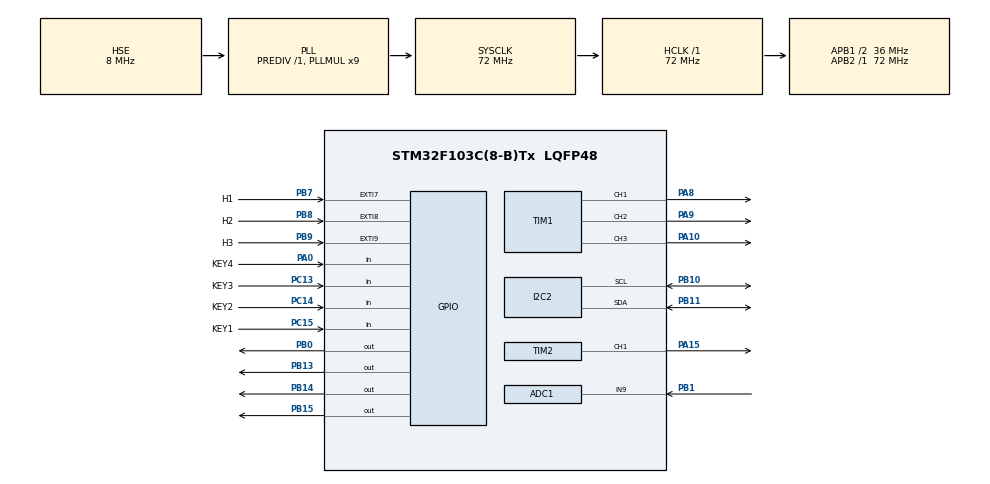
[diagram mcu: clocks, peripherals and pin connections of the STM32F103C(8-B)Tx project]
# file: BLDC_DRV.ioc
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ADC1.Channel-0\#ChannelRegularConversion=ADC_CHANNEL_9
ADC1.ContinuousConvMode=ENABLE
ADC1.NbrOfConversion=1
ADC1.NbrOfConversionFlag=1
ADC1.Rank-0\#ChannelRegularConversion=1
ADC1.SamplingTime-0\#ChannelRegularConversion=ADC_SAMPLETIME_28CYCLES_5
ADC1.master=1
I2C2.I2C_Mode=I2C_Fast
Mcu.Family=STM32F1
Mcu.Name=STM32F103C(8-B)Tx
Mcu.Package=LQFP48
NVIC.EXTI9_5_IRQn=true\:0\:0\:false\:false\:true\:true\:true\:true
NVIC.PriorityGroup=NVIC_PRIORITYGROUP_4
NVIC.TIM1_UP_IRQn=true\:1\:0\:true\:false\:true\:true\:true\:true
NVIC.TIM3_IRQn=true\:2\:0\:true\:false\:true\:true\:true\:true
PA0-WKUP.GPIO_Label=KEY4
PA0-WKUP.Signal=GPIO_Input
PA10.Signal=S_TIM1_CH3
PA13.Mode=Serial_Wire
PA13.Signal=SYS_JTMS-SWDIO
PA14.Mode=Serial_Wire
PA14.Signal=SYS_JTCK-SWCLK
PA15.Signal=S_TIM2_CH1_ETR
PA7.Signal=ADCx_IN7
PA8.Signal=S_TIM1_CH1
PA9.Signal=S_TIM1_CH2
PB0.Signal=GPIO_Output
PB1.Signal=ADCx_IN9
PB10.Mode=I2C
PB10.Signal=I2C2_SCL
PB11.Mode=I2C
PB11.Signal=I2C2_SDA
PB13.GPIO_Speed=GPIO_SPEED_FREQ_HIGH
PB13.Signal=GPIO_Output
PB14.GPIO_Speed=GPIO_SPEED_FREQ_HIGH
PB14.Signal=GPIO_Output
PB15.GPIO_Speed=GPIO_SPEED_FREQ_HIGH
PB15.Signal=GPIO_Output
PB7.GPIO_Label=H1
PB7.GPIO_ModeDefaultEXTI=GPIO_MODE_IT_RISING_FALLING
PB7.GPIO_PuPd=GPIO_PULLUP
PB7.Signal=GPXTI7
PB8.GPIO_Label=H2
PB8.GPIO_ModeDefaultEXTI=GPIO_MODE_IT_RISING_FALLING
PB8.GPIO_PuPd=GPIO_PULLUP
PB8.Signal=GPXTI8
PB9.GPIO_Label=H3
PB9.GPIO_ModeDefaultEXTI=GPIO_MODE_IT_RISING_FALLING
PB9.GPIO_PuPd=GPIO_PULLUP
PB9.Signal=GPXTI9
PC13-TAMPER-RTC.GPIO_Label=KEY3
PC13-TAMPER-RTC.Signal=GPIO_Input
PC14-OSC32_IN.GPIO_Label=KEY2
PC14-OSC32_IN.Signal=GPIO_Input
PC15-OSC32_OUT.GPIO_Label=KEY1
PC15-OSC32_OUT.Signal=GPIO_Input
PD0-OSC_IN.Mode=HSE-External-Oscillator
PD0-OSC_IN.Signal=RCC_OSC_IN
PD1-OSC_OUT.Mode=HSE-External-Oscillator
PD1-OSC_OUT.Signal=RCC_OSC_OUT
ProjectManager.HeapSize=0x200
ProjectManager.StackSize=0x400
ProjectManager.TargetToolchain=STM32CubeIDE
RCC.ADCPresc=RCC_ADCPCLK2_DIV6
RCC.AHBFreq_Value=72000000
RCC.APB1CLKDivider=RCC_HCLK_DIV2
RCC.APB1Freq_Value=36000000
RCC.APB1TimFreq_Value=72000000
RCC.APB2Freq_Value=72000000
RCC.APB2TimFreq_Value=72000000
RCC.HCLKFreq_Value=72000000
RCC.PLLMUL=RCC_PLL_MUL9
RCC.PLLSourceVirtual=RCC_PLLSOURCE_HSE
RCC.SYSCLKFreq_VALUE=72000000
RCC.SYSCLKSource=RCC_SYSCLKSOURCE_PLLCLK
RCC.USBFreq_Value=72000000
SH.ADCx_IN7.0=ADC1_IN7
SH.ADCx_IN9.0=ADC1_IN9,IN9
SH.S_TIM1_CH1.0=TIM1_CH1,PWM Generation1 CH1
SH.S_TIM1_CH2.0=TIM1_CH2,PWM Generation2 CH2
SH.S_TIM1_CH3.0=TIM1_CH3,PWM Generation3 CH3
SH.S_TIM2_CH1_ETR.0=TIM2_CH1,PWM Generation1 CH1
TIM1.Channel-PWM\ Generation1\ CH1=TIM_CHANNEL_1
TIM1.Channel-PWM\ Generation2\ CH2=TIM_CHANNEL_2
TIM1.Channel-PWM\ Generation3\ CH3=TIM_CHANNEL_3
TIM1.OCFastMode_PWM-PWM\ Generation1\ CH1=TIM_OCFAST_ENABLE
TIM1.OCFastMode_PWM-PWM\ Generation2\ CH2=TIM_OCFAST_ENABLE
TIM1.OCFastMode_PWM-PWM\ Generation3\ CH3=TIM_OCFAST_ENABLE
TIM2.AutoReloadPreload=TIM_AUTORELOAD_PRELOAD_ENABLE
TIM2.Channel-PWM\ Generation1\ CH1=TIM_CHANNEL_1
TIM2.Period=99
TIM2.Prescaler=179
TIM4.AutoReloadPreload=TIM_AUTORELOAD_PRELOAD_ENABLE
TIM4.Period=10000
TIM4.Prescaler=7200
VP_TIM2_VS_ClockSourceINT.Mode=Internal
VP_TIM3_VS_ClockSourceINT.Mode=Internal
VP_TIM4_VS_ClockSourceINT.Mode=Internal
board=custom

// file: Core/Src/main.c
/* USER CODE BEGIN Header */
/**
 ******************************************************************************
 * @file           : main.c
 * @brief          : Main program body
 ******************************************************************************
 * @attention
 *
 * <h2><center>&copy; Copyright (c) 2021 STMicroelectronics.
 * All rights reserved.</center></h2>
 *
 * This software component is licensed by ST under BSD 3-Clause license,
 * the "License"; You may not use this file except in compliance with the
 * License. You may obtain a copy of the License at:
 *                        opensource.org/licenses/BSD-3-Clause
 *
 ******************************************************************************
 */
/* USER CODE END Header */
#include "main.h"

/* USER CODE BEGIN Includes */
#include "u8g2/u8g2.h"
#include "stdbool.h"
#include "BLDC.h"

/* USER CODE END Includes */

/* USER CODE BEGIN PD */
// PWM Frequency = 72000000/BLDC_CHOPPER_PERIOD
#define BLDC_CHOPPER_PERIOD 4500

#define SPEED_TIMER_PRESCALER 72
#define SPEED_TIMER_PERIOD 0xFFFF // 65535

#define HALL_SENSOR_ANGLE_DEG 120							   // [deg]
#define HALL_SENSOR_ANGLE (HALL_SENSOR_ANGLE_DEG * M_PI / 180) // [rad]
#define POLES 8

/* USER CODE END PD */

 ADC_HandleTypeDef hadc1;

I2C_HandleTypeDef hi2c2;

TIM_HandleTypeDef htim1;
TIM_HandleTypeDef htim2;
TIM_HandleTypeDef htim3;
TIM_HandleTypeDef htim4;

/* USER CODE BEGIN PV */
uint8_t string_width;
char buffer[20];

bool Hread1 = 0;
bool Hread2 = 0;
bool Hread3 = 0;

uint8_t hallpos;
uint16_t adc_raw;

uint16_t pwm;

unsigned char phase;
unsigned char run;

unsigned short commcounter;
unsigned short step;
unsigned short runningdc;
unsigned short potvalue;

volatile uint16_t speed_raw = 0; // counter ticks
volatile uint16_t to_rpm;
volatile float speed_koef = POLES * HALL_SENSOR_ANGLE;

/* USER CODE END PV */

void SystemClock_Config(void);
static void MX_GPIO_Init(void);
static void MX_TIM1_Init(void);
static void MX_I2C2_Init(void);
static void MX_TIM3_Init(void);
static void MX_TIM4_Init(void);
static void MX_TIM2_Init(void);
static void MX_ADC1_Init(void);
/* USER CODE BEGIN PFP */

void Buzzer_Beep(uint16_t tone);
void Buzzer_Beep_Beep(uint16_t tone);
void HallSensorsGetPosition(void);

/* USER CODE END PFP */

/* USER CODE BEGIN 0 */

/* OLED Functions */
extern uint8_t u8x8_stm32_gpio_and_delay(u8x8_t *u8x8, uint8_t msg,
		uint8_t arg_int, void *arg_ptr);
extern uint8_t u8x8_byte_stm32_hw_spi(u8x8_t *u8x8, uint8_t msg,
		uint8_t arg_int, void *arg_ptr);
extern uint8_t u8x8_byte_stm32_hw_i2c(u8x8_t *u8x8, uint8_t msg,
		uint8_t arg_int, void *arg_ptr);
static u8g2_t u8g2;

/* HALL interrupt */
void HAL_GPIO_EXTI_Callback(uint16_t GPIO_Pin) {

	if ((GPIO_Pin == H1_Pin || GPIO_Pin == H2_Pin || GPIO_Pin == H3_Pin)
			!= RESET) {
		__HAL_GPIO_EXTI_CLEAR_IT(H1_Pin);
		__HAL_GPIO_EXTI_CLEAR_IT(H2_Pin);
		__HAL_GPIO_EXTI_CLEAR_IT(H3_Pin);

		// calc speed
		speed_raw = __HAL_TIM_GET_COUNTER(&htim3);
		HAL_TIM_Base_Start_IT(&htim3);
		__HAL_TIM_SET_COUNTER(&htim3,0);

		// Commutation
		HallSensorsGetPosition();
		commutate();
	}
}
/* USER CODE END 0 */

int main(void)
{

  /* MCU Configuration--------------------------------------------------------*/

  /* Reset of all peripherals, Initializes the Flash interface and the Systick. */
  HAL_Init();

  /* Configure the system clock */
  SystemClock_Config();

  /* Initialize all configured peripherals */
  MX_GPIO_Init();
  MX_TIM1_Init();
  MX_I2C2_Init();
  MX_TIM3_Init();
  MX_TIM4_Init();
  MX_TIM2_Init();
  MX_ADC1_Init();
  /* USER CODE BEGIN 2 */

  	/* TIM init */
  	HAL_TIM_Base_Start_IT(&htim1);

	/* ADC init */
  	HAL_ADC_Start(&hadc1);

	/* Starting point */
	HallSensorsGetPosition();

	/* Buzzer off */
	Buzzer_Beep_Beep(49);

	/* Motor start init */
	motorstartinit();
	phase = 0;

	/* OLED init */
	u8g2_Setup_ssd1306_i2c_128x64_noname_f(&u8g2, U8G2_R0,u8x8_byte_stm32_hw_i2c, u8x8_stm32_gpio_and_delay);
	/* Initialize Display */
	u8g2_InitDisplay(&u8g2);
	u8g2_SetPowerSave(&u8g2, 0);

  /* USER CODE END 2 */

  /* Infinite loop */
	while (1) {

    /* USER CODE BEGIN 3 */
		//* ADC Things *//

		//* Pot Value Limits *//
//		if (adc_raw > 200)
//			HAL_TIM_Base_Start(&htim1);
//		if (adc_raw < 100)
//			HAL_TIM_Base_Stop(&htim1);

		//* OLED Display Things *//
		u8g2_FirstPage(&u8g2);
		do {
			u8g2_ClearBuffer(&u8g2);

			u8g2_SetDrawColor(&u8g2, 1);
			u8g2_SetBitmapMode(&u8g2, 1);

			if ((hallpos & 0x01))
				u8g2_DrawBox(&u8g2, 30, 15, 15, 15);
			if ((hallpos >> 1) & 0x01)
				u8g2_DrawBox(&u8g2, 60, 15, 15, 15);
			if ((hallpos >> 2) & 0x01)
				u8g2_DrawBox(&u8g2, 90, 15, 15, 15);

			u8g2_SetFont(&u8g2, u8g2_font_ncenB08_tr);
			u8g2_DrawStr(&u8g2, 30, 50, "H1");
			u8g2_DrawStr(&u8g2, 60, 50, "H2");
			u8g2_DrawStr(&u8g2, 90, 50, "H3");

		} while (u8g2_NextPage(&u8g2));

		//* LED Toggle *//
		GPIOB->BSRR |= (1 << 0);		 // Set the Pin PB0
		HAL_Delay(200);
		GPIOB->BSRR |= (1 << 0) << 16;  // Clear the Pin PB0
		HAL_Delay(200);

		//* Buzzer Off *//
		if(HAL_GPIO_ReadPin(KEY1_GPIO_Port, KEY1_Pin)){
			BUZZER_START; // buton for buzzer
		}
		else {
			BUZZER_STOP;
		}

//		Hall data binary  to  single;
/*	    Hread1 = (hallpos & 0x01);
//	    Hread2 = ((hallpos >> 1) & 0x01);
//	    Hread3 = ((hallpos >> 2) & 0x01);
*/
	}
  /* USER CODE END 3 */
}

void SystemClock_Config(void)
{
  RCC_OscInitTypeDef RCC_OscInitStruct = {0};
  RCC_ClkInitTypeDef RCC_ClkInitStruct = {0};
  RCC_PeriphCLKInitTypeDef PeriphClkInit = {0};

  /** Initializes the RCC Oscillators according to the specified parameters
  * in the RCC_OscInitTypeDef structure.
  */
  RCC_OscInitStruct.OscillatorType = RCC_OSCILLATORTYPE_HSE;
  RCC_OscInitStruct.HSEState = RCC_HSE_ON;
  RCC_OscInitStruct.HSEPredivValue = RCC_HSE_PREDIV_DIV1;
  RCC_OscInitStruct.HSIState = RCC_HSI_ON;
  RCC_OscInitStruct.PLL.PLLState = RCC_PLL_ON;
  RCC_OscInitStruct.PLL.PLLSource = RCC_PLLSOURCE_HSE;
  RCC_OscInitStruct.PLL.PLLMUL = RCC_PLL_MUL9;
  if (HAL_RCC_OscConfig(&RCC_OscInitStruct) != HAL_OK)
  {
    Error_Handler();
  }

  /** Initializes the CPU, AHB and APB buses clocks
  */
  RCC_ClkInitStruct.ClockType = RCC_CLOCKTYPE_HCLK|RCC_CLOCKTYPE_SYSCLK
                              |RCC_CLOCKTYPE_PCLK1|RCC_CLOCKTYPE_PCLK2;
  RCC_ClkInitStruct.SYSCLKSource = RCC_SYSCLKSOURCE_PLLCLK;
  RCC_ClkInitStruct.AHBCLKDivider = RCC_SYSCLK_DIV1;
  RCC_ClkInitStruct.APB1CLKDivider = RCC_HCLK_DIV2;
  RCC_ClkInitStruct.APB2CLKDivider = RCC_HCLK_DIV1;

  if (HAL_RCC_ClockConfig(&RCC_ClkInitStruct, FLASH_LATENCY_2) != HAL_OK)
  {
    Error_Handler();
  }
  PeriphClkInit.PeriphClockSelection = RCC_PERIPHCLK_ADC;
  PeriphClkInit.AdcClockSelection = RCC_ADCPCLK2_DIV6;
  if (HAL_RCCEx_PeriphCLKConfig(&PeriphClkInit) != HAL_OK)
  {
    Error_Handler();
  }
}

static void MX_ADC1_Init(void)
{

  ADC_ChannelConfTypeDef sConfig = {0};

  /** Common config
  */
  hadc1.Instance = ADC1;
  hadc1.Init.ScanConvMode = ADC_SCAN_DISABLE;
  hadc1.Init.ContinuousConvMode = ENABLE;
  hadc1.Init.DiscontinuousConvMode = DISABLE;
  hadc1.Init.ExternalTrigConv = ADC_SOFTWARE_START;
  hadc1.Init.DataAlign = ADC_DATAALIGN_RIGHT;
  hadc1.Init.NbrOfConversion = 1;
  if (HAL_ADC_Init(&hadc1) != HAL_OK)
  {
    Error_Handler();
  }

  /** Configure Regular Channel
  */
  sConfig.Channel = ADC_CHANNEL_9;
  sConfig.Rank = ADC_REGULAR_RANK_1;
  sConfig.SamplingTime = ADC_SAMPLETIME_28CYCLES_5;
  if (HAL_ADC_ConfigChannel(&hadc1, &sConfig) != HAL_OK)
  {
    Error_Handler();
  }

}

static void MX_I2C2_Init(void)
{

  hi2c2.Instance = I2C2;
  hi2c2.Init.ClockSpeed = 400000;
  hi2c2.Init.DutyCycle = I2C_DUTYCYCLE_2;
  hi2c2.Init.OwnAddress1 = 0;
  hi2c2.Init.AddressingMode = I2C_ADDRESSINGMODE_7BIT;
  hi2c2.Init.DualAddressMode = I2C_DUALADDRESS_DISABLE;
  hi2c2.Init.OwnAddress2 = 0;
  hi2c2.Init.GeneralCallMode = I2C_GENERALCALL_DISABLE;
  hi2c2.Init.NoStretchMode = I2C_NOSTRETCH_DISABLE;
  if (HAL_I2C_Init(&hi2c2) != HAL_OK)
  {
    Error_Handler();
  }

}

static void MX_TIM1_Init(void)
{

  TIM_MasterConfigTypeDef sMasterConfig = {0};
  TIM_OC_InitTypeDef sConfigOC = {0};
  TIM_BreakDeadTimeConfigTypeDef sBreakDeadTimeConfig = {0};

  htim1.Instance = TIM1;
  htim1.Init.Prescaler = 0;
  htim1.Init.CounterMode = TIM_COUNTERMODE_UP;
  htim1.Init.Period = 65535;
  htim1.Init.ClockDivision = TIM_CLOCKDIVISION_DIV1;
  htim1.Init.RepetitionCounter = 0;
  htim1.Init.AutoReloadPreload = TIM_AUTORELOAD_PRELOAD_DISABLE;
  if (HAL_TIM_PWM_Init(&htim1) != HAL_OK)
  {
    Error_Handler();
  }
  sMasterConfig.MasterOutputTrigger = TIM_TRGO_RESET;
  sMasterConfig.MasterSlaveMode = TIM_MASTERSLAVEMODE_DISABLE;
  if (HAL_TIMEx_MasterConfigSynchronization(&htim1, &sMasterConfig) != HAL_OK)
  {
    Error_Handler();
  }
  sConfigOC.OCMode = TIM_OCMODE_PWM1;
  sConfigOC.Pulse = 0;
  sConfigOC.OCPolarity = TIM_OCPOLARITY_HIGH;
  sConfigOC.OCNPolarity = TIM_OCNPOLARITY_HIGH;
  sConfigOC.OCFastMode = TIM_OCFAST_ENABLE;
  sConfigOC.OCIdleState = TIM_OCIDLESTATE_RESET;
  sConfigOC.OCNIdleState = TIM_OCNIDLESTATE_RESET;
  if (HAL_TIM_PWM_ConfigChannel(&htim1, &sConfigOC, TIM_CHANNEL_1) != HAL_OK)
  {
    Error_Handler();
  }
  if (HAL_TIM_PWM_ConfigChannel(&htim1, &sConfigOC, TIM_CHANNEL_2) != HAL_OK)
  {
    Error_Handler();
  }
  if (HAL_TIM_PWM_ConfigChannel(&htim1, &sConfigOC, TIM_CHANNEL_3) != HAL_OK)
  {
    Error_Handler();
  }
  sBreakDeadTimeConfig.OffStateRunMode = TIM_OSSR_DISABLE;
  sBreakDeadTimeConfig.OffStateIDLEMode = TIM_OSSI_DISABLE;
  sBreakDeadTimeConfig.LockLevel = TIM_LOCKLEVEL_OFF;
  sBreakDeadTimeConfig.DeadTime = 0;
  sBreakDeadTimeConfig.BreakState = TIM_BREAK_DISABLE;
  sBreakDeadTimeConfig.BreakPolarity = TIM_BREAKPOLARITY_HIGH;
  sBreakDeadTimeConfig.AutomaticOutput = TIM_AUTOMATICOUTPUT_DISABLE;
  if (HAL_TIMEx_ConfigBreakDeadTime(&htim1, &sBreakDeadTimeConfig) != HAL_OK)
  {
    Error_Handler();
  }
  /* USER CODE BEGIN TIM1_Init 2 */
 // htim1.Instance->CR2 =0;
  htim1.Instance->CCR1 = 350;
  htim1.Instance->CCR2 = 350;
  htim1.Instance->CCR3 = 350;
  htim1.Instance->ARR = BLDC_CHOPPER_PERIOD;
  //htim1.Instance->CR1 = 0x0001;

  /* USER CODE END TIM1_Init 2 */
  HAL_TIM_MspPostInit(&htim1);

}

static void MX_TIM2_Init(void)
{

  TIM_ClockConfigTypeDef sClockSourceConfig = {0};
  TIM_MasterConfigTypeDef sMasterConfig = {0};
  TIM_OC_InitTypeDef sConfigOC = {0};

  htim2.Instance = TIM2;
  htim2.Init.Prescaler = 179;
  htim2.Init.CounterMode = TIM_COUNTERMODE_UP;
  htim2.Init.Period = 99;
  htim2.Init.ClockDivision = TIM_CLOCKDIVISION_DIV1;
  htim2.Init.AutoReloadPreload = TIM_AUTORELOAD_PRELOAD_ENABLE;
  if (HAL_TIM_Base_Init(&htim2) != HAL_OK)
  {
    Error_Handler();
  }
  sClockSourceConfig.ClockSource = TIM_CLOCKSOURCE_INTERNAL;
  if (HAL_TIM_ConfigClockSource(&htim2, &sClockSourceConfig) != HAL_OK)
  {
    Error_Handler();
  }
  if (HAL_TIM_PWM_Init(&htim2) != HAL_OK)
  {
    Error_Handler();
  }
  sMasterConfig.MasterOutputTrigger = TIM_TRGO_RESET;
  sMasterConfig.MasterSlaveMode = TIM_MASTERSLAVEMODE_DISABLE;
  if (HAL_TIMEx_MasterConfigSynchronization(&htim2, &sMasterConfig) != HAL_OK)
  {
    Error_Handler();
  }
  sConfigOC.OCMode = TIM_OCMODE_PWM1;
  sConfigOC.Pulse = 0;
  sConfigOC.OCPolarity = TIM_OCPOLARITY_HIGH;
  sConfigOC.OCFastMode = TIM_OCFAST_DISABLE;
  if (HAL_TIM_PWM_ConfigChannel(&htim2, &sConfigOC, TIM_CHANNEL_1) != HAL_OK)
  {
    Error_Handler();
  }
  HAL_TIM_MspPostInit(&htim2);

}

static void MX_TIM3_Init(void)
{

  TIM_ClockConfigTypeDef sClockSourceConfig = {0};
  TIM_MasterConfigTypeDef sMasterConfig = {0};

  htim3.Instance = TIM3;
  htim3.Init.Prescaler = 0;
  htim3.Init.CounterMode = TIM_COUNTERMODE_UP;
  htim3.Init.Period = 65535;
  htim3.Init.ClockDivision = TIM_CLOCKDIVISION_DIV1;
  htim3.Init.AutoReloadPreload = TIM_AUTORELOAD_PRELOAD_DISABLE;
  if (HAL_TIM_Base_Init(&htim3) != HAL_OK)
  {
    Error_Handler();
  }
  sClockSourceConfig.ClockSource = TIM_CLOCKSOURCE_INTERNAL;
  if (HAL_TIM_ConfigClockSource(&htim3, &sClockSourceConfig) != HAL_OK)
  {
    Error_Handler();
  }
  sMasterConfig.MasterOutputTrigger = TIM_TRGO_RESET;
  sMasterConfig.MasterSlaveMode = TIM_MASTERSLAVEMODE_DISABLE;
  if (HAL_TIMEx_MasterConfigSynchronization(&htim3, &sMasterConfig) != HAL_OK)
  {
    Error_Handler();
  }
  /* USER CODE BEGIN TIM3_Init 2 */

  // değişken atanaıp ilk değeri alması
  htim3.Init.Prescaler = SPEED_TIMER_PRESCALER;
  htim3.Init.Period = SPEED_TIMER_PERIOD;

  /* USER CODE END TIM3_Init 2 */

}

static void MX_TIM4_Init(void)
{

  TIM_ClockConfigTypeDef sClockSourceConfig = {0};
  TIM_MasterConfigTypeDef sMasterConfig = {0};

  htim4.Instance = TIM4;
  htim4.Init.Prescaler = 7200;
  htim4.Init.CounterMode = TIM_COUNTERMODE_UP;
  htim4.Init.Period = 10000;
  htim4.Init.ClockDivision = TIM_CLOCKDIVISION_DIV1;
  htim4.Init.AutoReloadPreload = TIM_AUTORELOAD_PRELOAD_ENABLE;
  if (HAL_TIM_Base_Init(&htim4) != HAL_OK)
  {
    Error_Handler();
  }
  sClockSourceConfig.ClockSource = TIM_CLOCKSOURCE_INTERNAL;
  if (HAL_TIM_ConfigClockSource(&htim4, &sClockSourceConfig) != HAL_OK)
  {
    Error_Handler();
  }
  sMasterConfig.MasterOutputTrigger = TIM_TRGO_RESET;
  sMasterConfig.MasterSlaveMode = TIM_MASTERSLAVEMODE_DISABLE;
  if (HAL_TIMEx_MasterConfigSynchronization(&htim4, &sMasterConfig) != HAL_OK)
  {
    Error_Handler();
  }

}

static void MX_GPIO_Init(void)
{
  GPIO_InitTypeDef GPIO_InitStruct = {0};

  /* GPIO Ports Clock Enable */
  __HAL_RCC_GPIOC_CLK_ENABLE();
  __HAL_RCC_GPIOD_CLK_ENABLE();
  __HAL_RCC_GPIOA_CLK_ENABLE();
  __HAL_RCC_GPIOB_CLK_ENABLE();

  /*Configure GPIO pin Output Level */
  HAL_GPIO_WritePin(GPIOB, GPIO_PIN_0|GPIO_PIN_13|GPIO_PIN_14|GPIO_PIN_15, GPIO_PIN_RESET);

  /*Configure GPIO pins : KEY3_Pin KEY2_Pin KEY1_Pin */
  GPIO_InitStruct.Pin = KEY3_Pin|KEY2_Pin|KEY1_Pin;
  GPIO_InitStruct.Mode = GPIO_MODE_INPUT;
  GPIO_InitStruct.Pull = GPIO_NOPULL;
  HAL_GPIO_Init(GPIOC, &GPIO_InitStruct);

  /*Configure GPIO pin : KEY4_Pin */
  GPIO_InitStruct.Pin = KEY4_Pin;
  GPIO_InitStruct.Mode = GPIO_MODE_INPUT;
  GPIO_InitStruct.Pull = GPIO_NOPULL;
  HAL_GPIO_Init(KEY4_GPIO_Port, &GPIO_InitStruct);

  /*Configure GPIO pin : PB0 */
  GPIO_InitStruct.Pin = GPIO_PIN_0;
  GPIO_InitStruct.Mode = GPIO_MODE_OUTPUT_PP;
  GPIO_InitStruct.Pull = GPIO_NOPULL;
  GPIO_InitStruct.Speed = GPIO_SPEED_FREQ_LOW;
  HAL_GPIO_Init(GPIOB, &GPIO_InitStruct);

  /*Configure GPIO pins : PB13 PB14 PB15 */
  GPIO_InitStruct.Pin = GPIO_PIN_13|GPIO_PIN_14|GPIO_PIN_15;
  GPIO_InitStruct.Mode = GPIO_MODE_OUTPUT_PP;
  GPIO_InitStruct.Pull = GPIO_NOPULL;
  GPIO_InitStruct.Speed = GPIO_SPEED_FREQ_HIGH;
  HAL_GPIO_Init(GPIOB, &GPIO_InitStruct);

  /*Configure GPIO pins : H1_Pin H2_Pin H3_Pin */
  GPIO_InitStruct.Pin = H1_Pin|H2_Pin|H3_Pin;
  GPIO_InitStruct.Mode = GPIO_MODE_IT_RISING_FALLING;
  GPIO_InitStruct.Pull = GPIO_PULLUP;
  HAL_GPIO_Init(GPIOB, &GPIO_InitStruct);

  /* EXTI interrupt init*/
  HAL_NVIC_SetPriority(EXTI9_5_IRQn, 0, 0);
  HAL_NVIC_EnableIRQ(EXTI9_5_IRQn);

}

/* USER CODE BEGIN 4 */
// Callback: timer has rolled over
void HAL_TIM_PeriodElapsedCallback(TIM_HandleTypeDef *htim)
{
  // Check which version of the timer triggered this callback and toggle LED
  if (htim == &htim1 )
  {
		adc_raw = HAL_ADC_GetValue(&hadc1);
		pwm = adc_to_pwm(adc_raw);

	  	//* SET PWM TO TIMER 1 *//
		A_DOWN_PWM_DUTY  = pwm;
		B_DOWN_PWM_DUTY  = pwm;
		C_DOWN_PWM_DUTY  = pwm;

		//* Clear flag *//
		__HAL_TIM_CLEAR_IT(&htim1, TIM_IT_UPDATE);
  }

  if (htim == &htim3 )
  {
	// Overflow - the motor is stopped
  	speed_raw = 0;

	//* Clear flag *//
	__HAL_TIM_CLEAR_IT(&htim3, TIM_IT_UPDATE);
  }
}

void Buzzer_Beep(uint16_t tone){
	BUZZER_SET_DUTY = tone; // when 99 is %100
	BUZZER_START;
	HAL_Delay(40);
	BUZZER_STOP;
}
void Buzzer_Beep_Beep(uint16_t tone){
	BUZZER_SET_DUTY = tone; // when 99 is %100
	BUZZER_START;
	HAL_Delay(40);
	BUZZER_STOP;
	HAL_Delay(50);
	BUZZER_START;
	HAL_Delay(40);
	BUZZER_STOP;
}

/* USER CODE END 4 */

void Error_Handler(void)
{
	__disable_irq();
	while (1) {
	}
}
